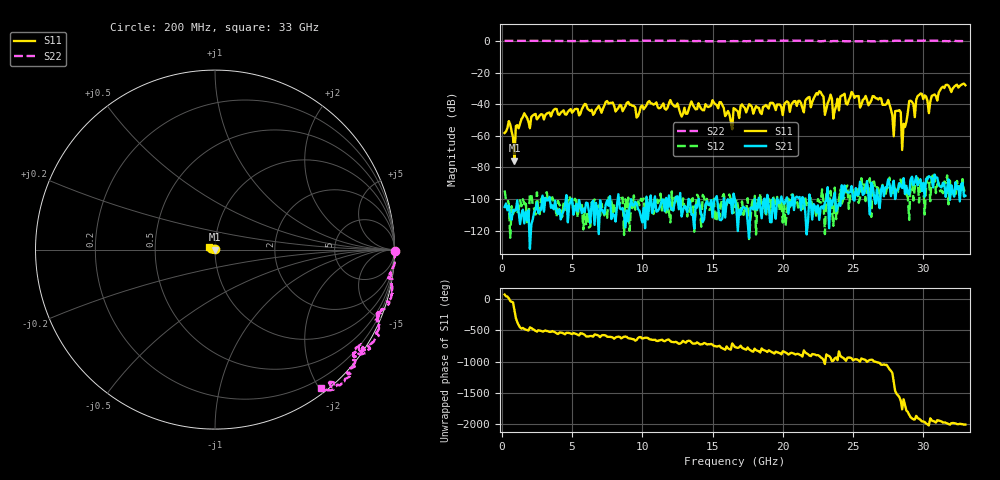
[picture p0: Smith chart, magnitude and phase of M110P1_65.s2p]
# GHZ S RI R 50
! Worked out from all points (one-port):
!   329 points, 200 MHz to 33 GHz, reference 50 ohm
!   lowest |S11| = -75.6 dB at 900 MHz (marker M1), VSWR 1.00, Z = 50 - j0.000435 ohm
!   |S11| at or under -10 dB: start of sweep to end of sweep
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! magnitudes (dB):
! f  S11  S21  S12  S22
! 200 MHz  -58.2  -104.9  -94.4  0.0
! 600 MHz  -52.8  -111.0  -124.5  0.0
! 900 MHz  -75.6  -107.4  -106.7  0.0
! 1 GHz  -53.8  -107.0  -109.2  0.0
! 1.6 GHz  -45.7  -115.3  -103.2  0.0
! 5.7 GHz  -43.1  -108.9  -103.7  -0.1
! 11.2 GHz  -42.6  -106.2  -101.0  0.1
! 15.6 GHz  -38.8  -113.3  -103.6  -0.2
! 16.4 GHz  -55.8  -109.1  -104.5  -0.2
! 16.6 GHz  -43.0  -100.4  -105.1  -0.2
! 22.1 GHz  -38.6  -112.9  -105.7  0.1
! 27.6 GHz  -40.2  -90.6  -86.5  0.0
! 27.9 GHz  -60.3  -88.4  -95.2  0.0
! 28 GHz  -44.4  -100.0  -93.1  0.1
! 28.4 GHz  -45.1  -91.8  -87.7  0.0
! 28.5 GHz  -69.0  -93.0  -94.0  0.0
! 28.6 GHz  -52.4  -86.7  -86.9  0.0
! 29 GHz  -38.0  -97.2  -113.2  0.2
! 29.4 GHz  -48.2  -89.4  -93.0  0.0
! 29.8 GHz  -33.3  -87.4  -89.8  0.2
! 30.4 GHz  -45.7  -85.5  -86.4  0.2
! 33 GHz  -28.0  -97.9  -94.5  -0.3
